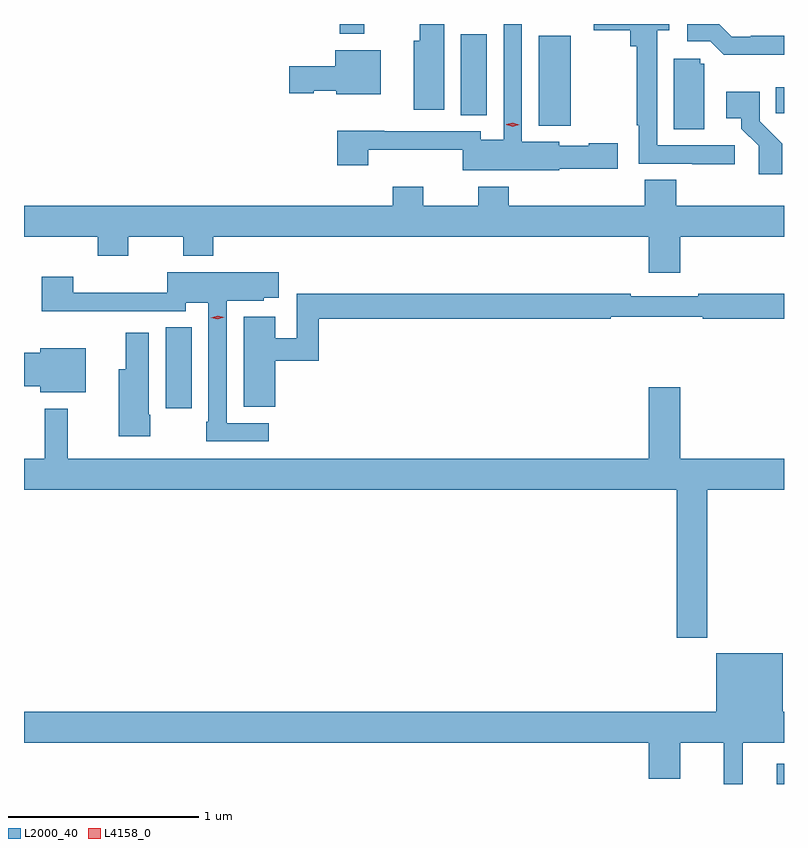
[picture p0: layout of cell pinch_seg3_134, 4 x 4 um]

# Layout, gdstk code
import gdstk
lib = gdstk.Library(unit=1e-6, precision=1e-09)
def R(c, l, rs):  # rectangles x0, y0, x1, y1
    for r in rs: c.add(gdstk.rectangle(r[:2], r[2:], *l))
def P(c, l, *ps):  # polygons
    for p in ps: c.add(gdstk.Polygon(p, *l))
L2000_40 = (2000, 40)
L4158_0 = (4158, 0)

pinch_seg3_134 = lib.new_cell('pinch_seg3_134')
R(pinch_seg3_134, L2000_40, [(1100.745,720.68,1100.783,720.787), (1097.528,722.658,1097.665,723.083), (1099.493,724.145,1099.66,724.619), (1099.082,724.201,1099.219,724.627), (1100.74,724.21,1100.783,724.348), (1098.445,724.629,1098.574,724.68)])
P(pinch_seg3_134, L2000_40, [(1098.994,724.68),(1098.865,724.68),(1098.865,724.591),(1098.833,724.591),(1098.833,724.23),(1098.994,724.23)],
  [(1100.566,724.518),(1100.783,724.518),(1100.783,724.617),(1100.608,724.617),(1100.608,724.614),(1100.508,724.614),(1100.442,724.68),(1100.274,724.68),(1100.274,724.59),(1100.394,724.59),(1100.467,724.517),(1100.566,724.517)],
  [(1100.524,724.041),(1100.115,724.041),(1100.115,724.646),(1100.179,724.646),(1100.179,724.68),(1099.782,724.68),(1099.782,724.646),(1099.975,724.646),(1099.975,724.562),(1100.007,724.562),(1100.007,724.148),(1100.019,724.148),(1100.019,723.945),(1100.299,723.945),(1100.299,723.943),(1100.524,723.943)],
  [(1099.599,723.917),(1099.909,723.917),(1099.909,724.052),(1099.756,724.052),(1099.756,724.039),(1099.599,724.039),(1099.599,724.06),(1099.404,724.06),(1099.404,724.68),(1099.308,724.68),(1099.308,724.072),(1099.188,724.072),(1099.188,724.116),(1098.679,724.116),(1098.679,724.118),(1098.431,724.118),(1098.431,723.936),(1098.596,723.936),(1098.596,724.019),(1099.092,724.019),(1099.092,723.911),(1099.599,723.911)],
  [(1098.661,724.543),(1098.422,724.543),(1098.422,724.458),(1098.18,724.458),(1098.18,724.316),(1098.309,724.316),(1098.309,724.328),(1098.426,724.328),(1098.426,724.31),(1098.661,724.31)],
  [(1100.362,724.47),(1100.343,724.47),(1100.343,724.497),(1100.204,724.497),(1100.204,724.126),(1100.362,724.126)],
  [(1100.774,724.05),(1100.655,724.169),(1100.655,724.324),(1100.478,724.324),(1100.478,724.184),(1100.558,724.184),(1100.558,724.129),(1100.649,724.039),(1100.649,723.888),(1100.774,723.888)],
  [(1100.236,723.56),(1100.783,723.56),(1100.783,723.724),(1100.216,723.724),(1100.216,723.86),(1100.051,723.86),(1100.051,723.724),(1099.334,723.724),(1099.334,723.823),(1099.174,723.823),(1099.174,723.724),(1098.885,723.724),(1098.885,723.823),(1098.725,723.823),(1098.725,723.724),(1096.783,723.724),(1096.783,723.56),(1097.171,723.56),(1097.171,723.461),(1097.331,723.461),(1097.331,723.56),(1097.62,723.56),(1097.62,723.461),(1097.78,723.461),(1097.78,723.56),(1100.072,723.56),(1100.072,723.372),(1100.236,723.372)],
  [(1098.07,722.58),(1097.85,722.58),(1097.85,723.224),(1098.045,723.224),(1098.045,723.239),(1098.124,723.239),(1098.124,723.373),(1097.538,723.373),(1097.538,723.266),(1097.042,723.266),(1097.042,723.349),(1096.877,723.349),(1096.877,723.167),(1097.125,723.167),(1097.125,723.168),(1097.634,723.168),(1097.634,723.212),(1097.754,723.212),(1097.754,722.587),(1097.742,722.587),(1097.742,722.484),(1098.07,722.484)],
  [(1098.106,722.908),(1098.335,722.908),(1098.335,723.13),(1099.87,723.13),(1099.87,723.138),(1100.355,723.138),(1100.355,723.13),(1100.783,723.13),(1100.783,723.259),(1100.332,723.259),(1100.332,723.246),(1099.976,723.246),(1099.976,723.259),(1098.219,723.259),(1098.219,723.026),(1098.106,723.026),(1098.106,723.139),(1097.939,723.139),(1097.939,722.665),(1098.106,722.665)],
  [(1097.448,722.623),(1097.44,722.623),(1097.44,723.055),(1097.318,723.055),(1097.318,722.863),(1097.282,722.863),(1097.282,722.511),(1097.448,722.511)],
  [(1097.107,722.974),(1096.868,722.974),(1096.868,722.951),(1096.783,722.951),(1096.783,722.773),(1096.868,722.773),(1096.868,722.741),(1097.107,722.741)],
  [(1100.379,722.228),(1100.783,722.228),(1100.783,722.392),(1100.236,722.392),(1100.236,722.767),(1100.072,722.767),(1100.072,722.392),(1097.012,722.392),(1097.012,722.656),(1096.891,722.656),(1096.891,722.392),(1096.783,722.392),(1096.783,722.228),(1100.219,722.228),(1100.219,721.449),(1100.379,721.449)],
  [(1100.567,720.896),(1100.783,720.896),(1100.783,721.06),(1100.776,721.06),(1100.776,721.369),(1100.426,721.369),(1100.426,721.06),(1096.783,721.06),(1096.783,720.896),(1100.072,720.896),(1100.072,720.708),(1100.236,720.708),(1100.236,720.896),(1100.467,720.896),(1100.467,720.68),(1100.567,720.68)])
P(pinch_seg3_134, L4158_0, [(1097.802,723.125),(1097.767,723.133),(1097.767,723.134),(1097.767,723.134),(1097.802,723.145),(1097.836,723.136),(1097.837,723.136),(1097.836,723.136)],
  [(1099.355,724.14),(1099.321,724.151),(1099.321,724.152),(1099.321,724.152),(1099.356,724.16),(1099.39,724.149),(1099.39,724.149),(1099.39,724.149)])

lib.write_gds('pinch_seg3_134.gds')
